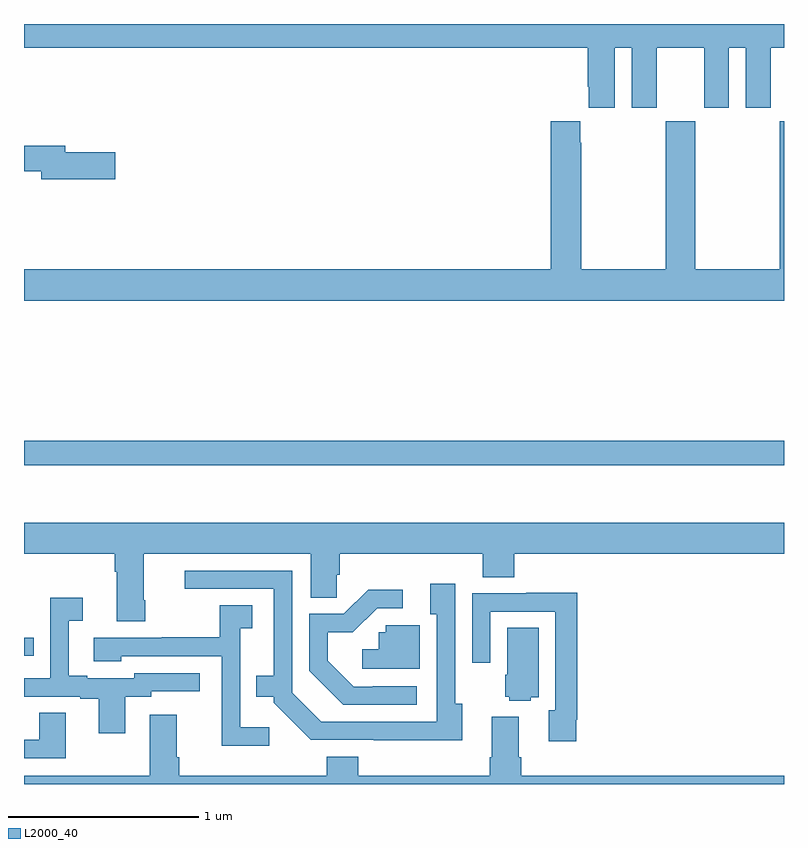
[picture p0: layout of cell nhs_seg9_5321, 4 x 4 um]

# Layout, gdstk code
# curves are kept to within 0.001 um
import gdstk
lib = gdstk.Library(unit=1e-6, precision=1e-09)
def R(c, l, rs):  # rectangles x0, y0, x1, y1
    for r in rs: c.add(gdstk.rectangle(r[:2], r[2:], *l))
def P(c, l, *ps):  # polygons
    for p in ps: c.add(gdstk.Polygon(p, *l))
L2000_40 = (2000, 40)

nhs_seg9_5321 = lib.new_cell('nhs_seg9_5321')
R(nhs_seg9_5321, L2000_40, [(419,1237.174,419.05,1237.269), (419,1238.178,423,1238.306)])
P(nhs_seg9_5321, L2000_40, [(422.11,1240.376),(422.198,1240.376),(422.198,1240.059),(422.329,1240.059),(422.329,1240.376),(422.579,1240.376),(422.579,1240.059),(422.71,1240.059),(422.71,1240.376),(422.798,1240.376),(422.798,1240.059),(422.929,1240.059),(422.929,1240.376),(423,1240.376),(423,1240.5),(419,1240.5),(419,1240.376),(421.967,1240.376),(421.967,1240.171),(421.973,1240.171),(421.973,1240.059),(422.11,1240.059)],
  [(423,1239.988),(422.977,1239.988),(422.977,1239.208),(422.532,1239.208),(422.532,1239.988),(422.377,1239.988),(422.377,1239.208),(421.932,1239.208),(421.932,1239.875),(421.927,1239.875),(421.927,1239.988),(421.772,1239.988),(421.772,1239.208),(419,1239.208),(419,1239.044),(423,1239.044)],
  [(419.479,1239.824),(419.218,1239.824),(419.218,1239.86),(419,1239.86),(419,1239.724),(419.09,1239.724),(419.09,1239.682),(419.479,1239.682)],
  [(419.637,1237.468),(419.629,1237.468),(419.629,1237.712),(420.509,1237.712),(420.509,1237.48),(420.647,1237.48),(420.647,1237.602),(420.662,1237.602),(420.662,1237.712),(421.415,1237.712),(421.415,1237.588),(421.58,1237.588),(421.58,1237.712),(423,1237.712),(423,1237.876),(419,1237.876),(419,1237.712),(419.477,1237.712),(419.477,1237.616),(419.489,1237.616),(419.489,1237.356),(419.637,1237.356)],
  [(421.306,1236.922),(421.269,1236.922),(421.269,1237.555),(421.139,1237.555),(421.139,1237.394),(421.173,1237.394),(421.173,1236.828),(420.564,1236.828),(420.411,1236.981),(420.411,1237.623),(419.847,1237.623),(419.847,1237.527),(420.314,1237.527),(420.314,1237.069),(420.223,1237.069),(420.223,1236.959),(420.315,1236.959),(420.315,1236.927),(420.51,1236.732),(421.306,1236.731)],
  [(421.066,1237.014),(420.835,1237.014),(420.835,1237.011),(420.735,1237.011),(420.598,1237.148),(420.598,1237.298),(420.731,1237.298),(420.858,1237.425),(420.994,1237.425),(420.994,1237.523),(420.812,1237.523),(420.684,1237.395),(420.501,1237.395),(420.501,1237.097),(420.68,1236.918),(421.066,1236.918)],
  [(421.906,1236.838),(421.913,1236.838),(421.913,1237.507),(421.643,1237.507),(421.643,1237.503),(421.359,1237.503),(421.359,1237.137),(421.455,1237.137),(421.455,1237.407),(421.797,1237.407),(421.797,1236.887),(421.763,1236.887),(421.763,1236.726),(421.906,1236.726)],
  [(419.533,1236.96),(419.67,1236.96),(419.67,1236.987),(419.926,1236.987),(419.926,1237.083),(419.58,1237.083),(419.58,1237.056),(419.332,1237.056),(419.332,1237.069),(419.236,1237.069),(419.236,1237.36),(419.308,1237.36),(419.308,1237.48),(419.139,1237.48),(419.139,1237.056),(419,1237.056),(419,1236.96),(419.297,1236.96),(419.297,1236.948),(419.393,1236.948),(419.393,1236.768),(419.533,1236.768)],
  [(420.292,1236.799),(420.138,1236.799),(420.138,1237.321),(420.202,1237.321),(420.202,1237.442),(420.03,1237.442),(420.03,1237.272),(419.725,1237.272),(419.725,1237.269),(419.367,1237.269),(419.367,1237.145),(419.511,1237.145),(419.511,1237.173),(420.042,1237.173),(420.042,1236.941),(420.04,1236.941),(420.04,1236.701),(420.292,1236.701)],
  [(421.084,1237.335),(420.903,1237.335),(420.903,1237.299),(420.867,1237.299),(420.867,1237.21),(420.78,1237.21),(420.78,1237.107),(421.084,1237.107)],
  [(421.668,1236.956),(421.708,1236.956),(421.708,1237.322),(421.544,1237.322),(421.544,1237.074),(421.532,1237.074),(421.532,1236.96),(421.554,1236.96),(421.554,1236.938),(421.668,1236.938)],
  [(419.221,1236.875),(419.081,1236.875),(419.081,1236.732),(419,1236.732),(419,1236.636),(419.221,1236.636)],
  [(423,1236.544),(421.616,1236.544),(421.616,1236.64),(421.603,1236.64),(421.603,1236.853),(421.463,1236.853),(421.463,1236.64),(421.451,1236.64),(421.451,1236.544),(420.758,1236.544),(420.758,1236.643),(420.593,1236.643),(420.593,1236.544),(419.816,1236.544),(419.816,1236.64),(419.803,1236.64),(419.803,1236.865),(419.663,1236.865),(419.663,1236.544),(419,1236.544),(419,1236.5),(423,1236.5)])

lib.write_gds('nhs_seg9_5321.gds')
